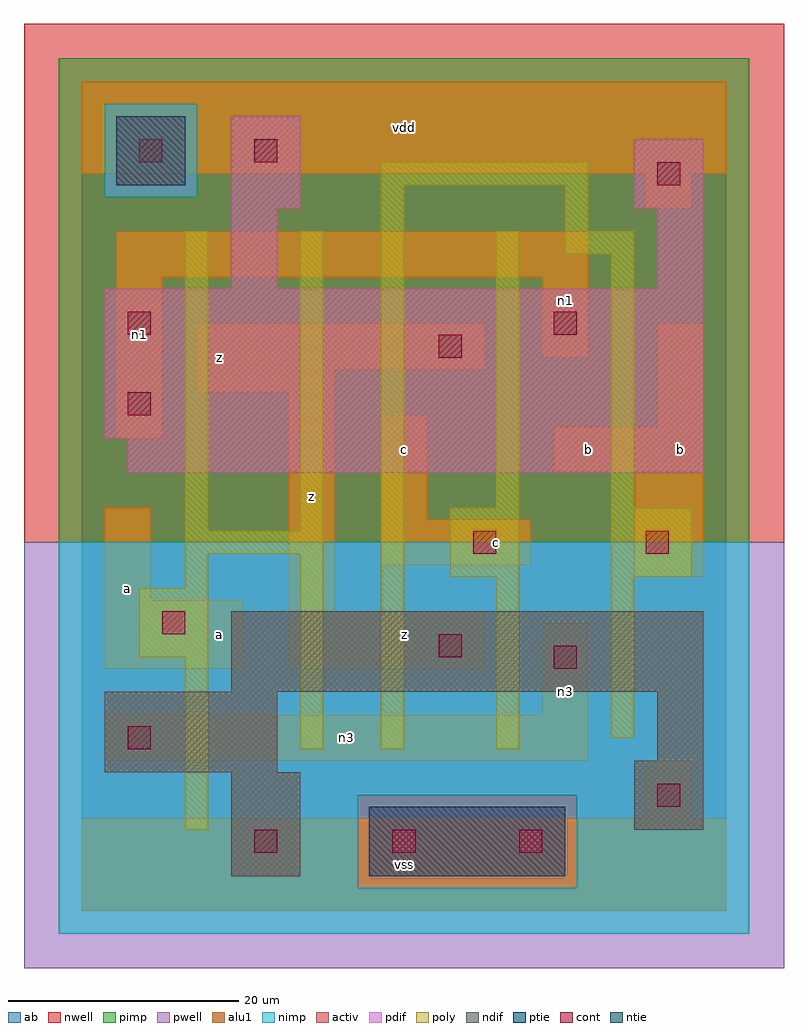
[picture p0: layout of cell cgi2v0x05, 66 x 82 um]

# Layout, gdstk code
import gdstk
lib = gdstk.Library(unit=1e-6, precision=1e-09)
def R(c, l, rs):  # rectangles x0, y0, x1, y1
    for r in rs: c.add(gdstk.rectangle(r[:2], r[2:], *l))
ndif = (3, 0)
pdif = (4, 0)
ntie = (5, 0)
ptie = (6, 0)
cont = (25, 0)
pwell = (41, 0)
nwell = (42, 0)
activ = (43, 0)
pimp = (44, 0)
nimp = (45, 0)
poly = (46, 0)
alu1 = (49, 0)
ab = (63, 0)

cgi2v0x05 = lib.new_cell('cgi2v0x05')
R(cgi2v0x05, ndif, [(13,3,19,12), (48,7,54,13), (2,12,17,19), (50,13,54,19), (13,19,54,26)])
R(cgi2v0x05, pdif, [(4,38,54,41), (2,41,54,54), (13,54,17,61), (50,54,54,61), (13,61,19,69), (48,61,54,67)])
R(cgi2v0x05, ntie, [(3,63,9,69)])
R(cgi2v0x05, ptie, [(25,3,42,9)])
R(cgi2v0x05, cont, [(15,5,17,7), (27,5,29,7), (38,5,40,7), (50,9,52,11), (4,14,6,16), (41,21,43,23), (31,22,33,24), (7,24,9,26), (34,31,36,33), (49,31,51,33), (4,43,6,45), (31,48,33,50), (4,50,6,52), (41,50,43,52), (50,63,52,65), (5,65,7,67), (15,65,17,67)])
R(cgi2v0x05, pwell, [(-5,-5,61,32)])
R(cgi2v0x05, nwell, [(-5,32,61,77)])
R(cgi2v0x05, activ, [(13,3,19,12), (25,3,42,9), (48,7,54,13), (2,12,17,19), (50,13,54,19), (13,19,54,26), (4,38,54,41), (2,41,54,54), (13,54,17,61), (50,54,54,61), (13,61,19,69), (48,61,54,67), (3,63,9,69)])
R(cgi2v0x05, pimp, [(24,2,43,10), (-2,32,58,62), (-2,62,2,70), (10,62,58,70), (-2,70,58,74)])
R(cgi2v0x05, nimp, [(-2,-2,58,2), (-2,2,24,10), (43,2,58,10), (-2,10,58,32), (2,62,10,70)])
R(cgi2v0x05, poly, [(9,7,11,22), (19,14,21,31), (26,14,28,63), (36,14,38,29), (46,15,48,29), (5,22,11,28), (9,28,11,31), (32,29,38,35), (46,29,53,35), (9,31,21,33), (9,33,11,59), (19,33,21,59), (36,35,38,59), (46,35,48,57), (42,57,48,59), (42,59,44,63), (26,63,44,65)])
R(cgi2v0x05, alu1, [(0,0,56,8), (49,8,53,13), (2,13,44,17), (40,17,44,25), (2,21,14,27), (18,21,35,26), (18,26,22,45), (2,27,6,35), (48,29,54,38), (26,30,39,34), (26,34,30,43), (41,38,54,42), (3,41,7,55), (50,42,54,51), (10,45,22,47), (10,47,35,51), (40,48,44,55), (3,55,44,59), (49,61,53,64), (0,64,56,72)])
R(cgi2v0x05, ab, [(0,0,56,72)])
cgi2v0x05.add(gdstk.Label('n1', (5,50), layer=49, texttype=0))
cgi2v0x05.add(gdstk.Label('n3', (23,15), layer=49, texttype=0))
cgi2v0x05.add(gdstk.Label('n3', (42,19), layer=49, texttype=0))
cgi2v0x05.add(gdstk.Label('n1', (42,53), layer=49, texttype=0))
cgi2v0x05.add(gdstk.Label('a', (4,28), layer=49, texttype=0))
cgi2v0x05.add(gdstk.Label('a', (12,24), layer=49, texttype=0))
cgi2v0x05.add(gdstk.Label('z', (20,36), layer=49, texttype=0))
cgi2v0x05.add(gdstk.Label('z', (12,48), layer=49, texttype=0))
cgi2v0x05.add(gdstk.Label('vss', (28,4), layer=49, texttype=0))
cgi2v0x05.add(gdstk.Label('z', (28,24), layer=49, texttype=0))
cgi2v0x05.add(gdstk.Label('c', (36,32), layer=49, texttype=0))
cgi2v0x05.add(gdstk.Label('c', (28,40), layer=49, texttype=0))
cgi2v0x05.add(gdstk.Label('vdd', (28,68), layer=49, texttype=0))
cgi2v0x05.add(gdstk.Label('b', (52,40), layer=49, texttype=0))
cgi2v0x05.add(gdstk.Label('b', (44,40), layer=49, texttype=0))

lib.write_gds('cgi2v0x05.gds')
